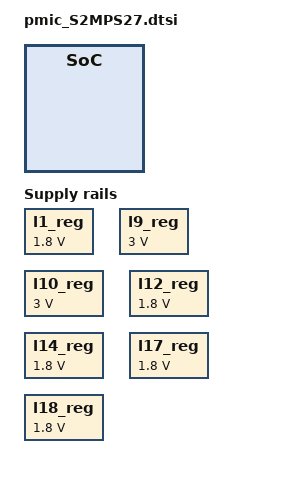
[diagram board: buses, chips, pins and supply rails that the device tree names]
#if 1800000 && 1800000
&l1_reg {
	regulator-name = "vdd_ldo1";
	regulator-min-microvolt = <1800000>;
	regulator-max-microvolt = <1800000>;
	 
	regulator-always-on;regulator-boot-on;
};
#endif

#if 0 && 0
&l2_reg {
	regulator-name = "vdd_ldo2";
	regulator-min-microvolt = <0>;
	regulator-max-microvolt = <0>;
	 
	
};
#endif

#if 0 && 0
&l3_reg {
	regulator-name = "vdd_ldo3";
	regulator-min-microvolt = <0>;
	regulator-max-microvolt = <0>;
	 
	
};
#endif

#if 0 && 0
&l4_reg {
	regulator-name = "vdd_ldo4";
	regulator-min-microvolt = <0>;
	regulator-max-microvolt = <0>;
	 
	
};
#endif

#if 0 && 0
&l5_reg {
	regulator-name = "vdd_ldo5";
	regulator-min-microvolt = <0>;
	regulator-max-microvolt = <0>;
	 
	
};
#endif

#if 0 && 0
&l6_reg {
	regulator-name = "vdd_ldo6";
	regulator-min-microvolt = <0>;
	regulator-max-microvolt = <0>;
	 
	
};
#endif

#if 0 && 0
&l7_reg {
	regulator-name = "vdd_ldo7";
	regulator-min-microvolt = <0>;
	regulator-max-microvolt = <0>;
	 
	
};
#endif

#if 0 && 0
&l8_reg {
	regulator-name = "vdd_ldo8";
	regulator-min-microvolt = <0>;
	regulator-max-microvolt = <0>;
	 
	
};
#endif

#if 3000000 && 3000000
&l9_reg {
	regulator-name = "vdd_ldo9";
	regulator-min-microvolt = <3000000>;
	regulator-max-microvolt = <3000000>;
	 
	/delete-property/ regulator-always-on;regulator-boot-on;
};
#endif

#if 3000000 && 3000000
&l10_reg {
	regulator-name = "vdd_ldo10";
	regulator-min-microvolt = <3000000>;
	regulator-max-microvolt = <3000000>;
	 
	regulator-boot-on;/delete-property/ regulator-always-on;
};
#endif

#if 0 && 0
&l11_reg {
	regulator-name = "vdd_ldo11";
	regulator-min-microvolt = <0>;
	regulator-max-microvolt = <0>;
	 
	
};
#endif

#if 1800000 && 1800000
&l12_reg {
	regulator-name = "vdd_ldo12";
	regulator-min-microvolt = <1800000>;
	regulator-max-microvolt = <1800000>;
	 
	/delete-property/ regulator-always-on;/delete-property/ regulator-boot-on;
};
#endif

#if 0 && 0
&l13_reg {
	regulator-name = "vdd_ldo13";
	regulator-min-microvolt = <0>;
	regulator-max-microvolt = <0>;
	 
	/delete-property/ regulator-always-on;/delete-property/ regulator-boot-on;
};
#endif

#if 1800000 && 1800000
&l14_reg {
	regulator-name = "vdd_ldo14";
	regulator-min-microvolt = <1800000>;
	regulator-max-microvolt = <1800000>;
	 regulator-ramp-delay = <12000>;regulator-initial-mode = <1>;
	regulator-always-on;
};
#endif

#if 0 && 0
&l15_reg {
	regulator-name = "vdd_ldo15";
	regulator-min-microvolt = <0>;
	regulator-max-microvolt = <0>;
	 
	
};
#endif

#if 0 && 0
&l16_reg {
	regulator-name = "vdd_ldo16";
	regulator-min-microvolt = <0>;
	regulator-max-microvolt = <0>;
	 
	
};
#endif

#if 1800000 && 1800000
&l17_reg {
	regulator-name = "vdd_ldo17";
	regulator-min-microvolt = <1800000>;
	regulator-max-microvolt = <1800000>;
	 
	regulator-boot-on;/delete-property/ regulator-always-on;
};
#endif

#if 1800000 && 1800000
&l18_reg {
	regulator-name = "vdd_ldo18";
	regulator-min-microvolt = <1800000>;
	regulator-max-microvolt = <1800000>;
	 
	/delete-property/ regulator-always-on;regulator-boot-on;
};
#endif
